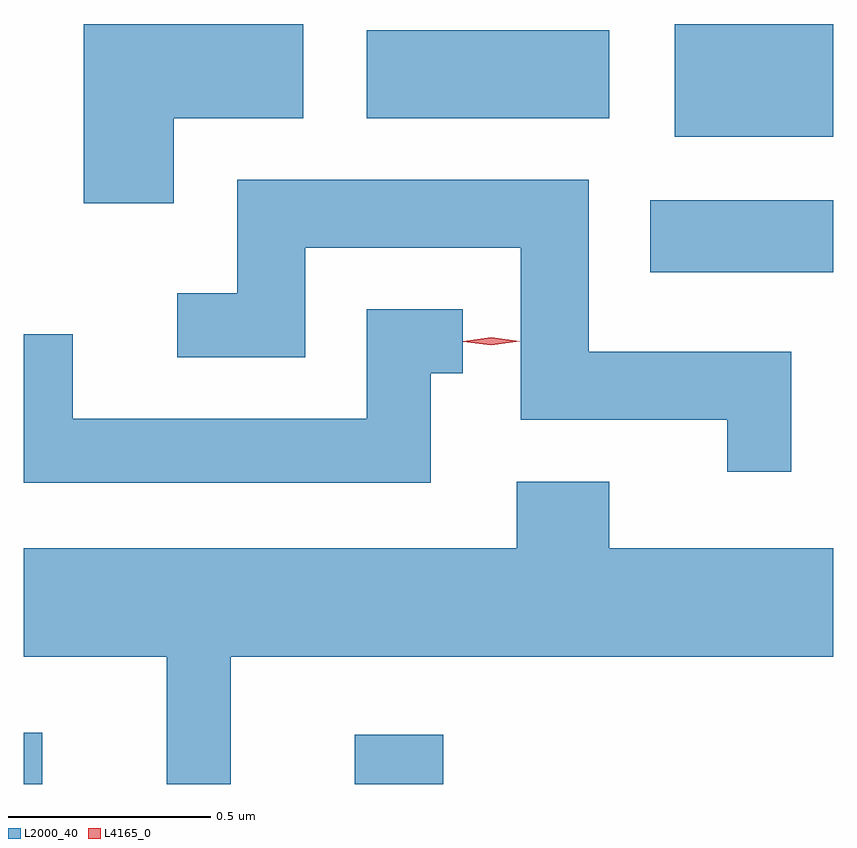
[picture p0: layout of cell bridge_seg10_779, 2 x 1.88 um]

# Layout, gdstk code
import gdstk
lib = gdstk.Library(unit=1e-6, precision=1e-09)
def R(c, l, rs):  # rectangles x0, y0, x1, y1
    for r in rs: c.add(gdstk.rectangle(r[:2], r[2:], *l))
def P(c, l, *ps):  # polygons
    for p in ps: c.add(gdstk.Polygon(p, *l))
L2000_40 = (2000, 40)
L4165_0 = (4165, 0)

bridge_seg10_779 = lib.new_cell('bridge_seg10_779')
R(bridge_seg10_779, L2000_40, [(590.013,2193.522,590.059,2193.648), (590.831,2193.522,591.049,2193.644), (591.561,2194.786,592.013,2194.964), (591.621,2195.121,592.013,2195.399), (590.861,2195.166,591.459,2195.384)])
P(bridge_seg10_779, L2000_40, [(590.384,2195.166),(590.704,2195.166),(590.704,2195.399),(590.161,2195.399),(590.161,2194.956),(590.384,2194.956)],
  [(591.909,2194.589),(591.409,2194.589),(591.409,2195.014),(590.541,2195.014),(590.541,2194.734),(590.393,2194.734),(590.393,2194.576),(590.709,2194.576),(590.709,2194.846),(591.241,2194.846),(591.241,2194.421),(591.751,2194.421),(591.751,2194.293),(591.909,2194.293)],
  [(591.019,2194.536),(591.098,2194.536),(591.098,2194.694),(590.861,2194.694),(590.861,2194.424),(590.134,2194.424),(590.134,2194.633),(590.013,2194.633),(590.013,2194.266),(591.019,2194.266)],
  [(590.524,2193.836),(592.013,2193.836),(592.013,2194.104),(591.459,2194.104),(591.459,2194.269),(591.231,2194.269),(591.231,2194.104),(590.013,2194.104),(590.013,2193.836),(590.366,2193.836),(590.366,2193.522),(590.524,2193.522)])
P(bridge_seg10_779, L4165_0, [(591.168,2194.606),(591.099,2194.614),(591.099,2194.615),(591.099,2194.615),(591.168,2194.625),(591.238,2194.616),(591.238,2194.616),(591.238,2194.615)])

lib.write_gds('bridge_seg10_779.gds')
